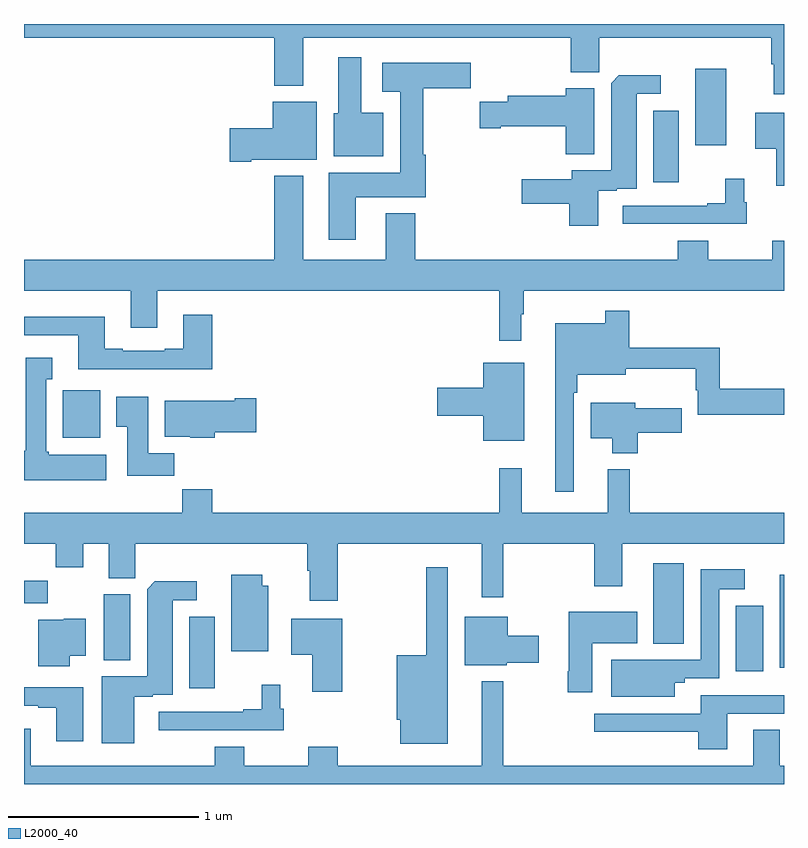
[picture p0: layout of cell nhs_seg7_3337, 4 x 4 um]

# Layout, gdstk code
import gdstk
lib = gdstk.Library(unit=1e-6, precision=1e-09)
def R(c, l, rs):  # rectangles x0, y0, x1, y1
    for r in rs: c.add(gdstk.rectangle(r[:2], r[2:], *l))
def P(c, l, *ps):  # polygons
    for p in ps: c.add(gdstk.Polygon(p, *l))
L2000_40 = (2000, 40)

nhs_seg7_3337 = lib.new_cell('nhs_seg7_3337')
R(nhs_seg7_3337, L2000_40, [(323.87,1018.503,324.004,1018.879), (326.747,1018.593,326.89,1018.939), (326.978,1018.611,327,1019.101), (323.42,1018.651,323.56,1018.998), (326.312,1018.739,326.473,1019.161), (323,1018.952,323.126,1019.071), (323.205,1019.822,323.401,1020.072), (326.312,1021.167,326.446,1021.543), (326.534,1021.362,326.695,1021.765)])
P(nhs_seg7_3337, L2000_40, [(323,1021.928),(324.317,1021.928),(324.317,1021.676),(324.469,1021.676),(324.469,1021.928),(325.877,1021.928),(325.877,1021.747),(326.027,1021.747),(326.027,1021.928),(326.933,1021.928),(326.933,1021.787),(326.945,1021.787),(326.945,1021.629),(327,1021.629),(327,1022),(323,1022)],
  [(324.892,1021.534),(324.775,1021.534),(324.775,1021.825),(324.653,1021.825),(324.653,1021.53),(324.629,1021.53),(324.629,1021.304),(324.892,1021.304)],
  [(324.745,1021.088),(325.115,1021.088),(325.115,1021.312),(325.102,1021.312),(325.102,1021.662),(325.351,1021.662),(325.351,1021.795),(324.885,1021.795),(324.885,1021.643),(324.98,1021.643),(324.98,1021.216),(324.605,1021.216),(324.605,1020.864),(324.745,1020.864)],
  [(326.023,1021.122),(326.12,1021.122),(326.12,1021.134),(326.224,1021.134),(326.224,1021.632),(326.35,1021.632),(326.35,1021.73),(326.131,1021.73),(326.09,1021.688),(326.09,1021.23),(325.883,1021.23),(325.883,1021.183),(325.62,1021.183),(325.62,1021.054),(325.871,1021.054),(325.871,1020.939),(326.023,1020.939)],
  [(326.002,1021.662),(325.85,1021.662),(325.85,1021.623),(325.547,1021.623),(325.547,1021.591),(325.398,1021.591),(325.398,1021.451),(325.51,1021.451),(325.51,1021.463),(325.85,1021.463),(325.85,1021.315),(326.002,1021.315)],
  [(324.196,1021.286),(324.541,1021.286),(324.541,1021.591),(324.308,1021.591),(324.308,1021.452),(324.084,1021.452),(324.084,1021.274),(324.196,1021.274)],
  [(327,1021.534),(326.849,1021.534),(326.849,1021.343),(326.96,1021.343),(326.96,1021.149),(327,1021.149)],
  [(327,1020.859),(326.938,1020.859),(326.938,1020.76),(326.601,1020.76),(326.601,1020.859),(326.441,1020.859),(326.441,1020.76),(325.058,1020.76),(325.058,1021.003),(324.905,1021.003),(324.905,1020.76),(324.469,1020.76),(324.469,1021.201),(324.317,1021.201),(324.317,1020.76),(323,1020.76),(323,1020.596),(323.561,1020.596),(323.561,1020.402),(323.701,1020.402),(323.701,1020.596),(325.501,1020.596),(325.501,1020.333),(325.618,1020.333),(325.618,1020.473),(325.63,1020.473),(325.63,1020.596),(327,1020.596)],
  [(326.803,1021.061),(326.791,1021.061),(326.791,1021.186),(326.692,1021.186),(326.692,1021.057),(326.597,1021.057),(326.597,1021.044),(326.151,1021.044),(326.151,1020.948),(326.803,1020.948)],
  [(325.893,1020.059),(325.913,1020.059),(325.913,1020.155),(326.167,1020.155),(326.167,1020.185),(326.535,1020.185),(326.535,1020.073),(326.547,1020.073),(326.547,1019.944),(327,1019.944),(327,1020.08),(326.663,1020.08),(326.663,1020.295),(326.186,1020.295),(326.186,1020.49),(326.058,1020.49),(326.058,1020.424),(325.796,1020.424),(325.796,1019.538),(325.893,1019.538)],
  [(323.99,1020.469),(323.837,1020.469),(323.837,1020.292),(323.741,1020.292),(323.741,1020.279),(323.521,1020.279),(323.521,1020.292),(323.425,1020.292),(323.425,1020.46),(323,1020.46),(323,1020.363),(323.285,1020.363),(323.285,1020.182),(323.99,1020.182)],
  [(323.434,1019.734),(323.13,1019.734),(323.13,1019.748),(323.116,1019.748),(323.116,1020.131),(323.149,1020.131),(323.149,1020.244),(323.009,1020.244),(323.009,1019.754),(323,1019.754),(323,1019.6),(323.434,1019.6)],
  [(325.633,1020.217),(325.418,1020.217),(325.418,1020.086),(325.176,1020.086),(325.176,1019.939),(325.418,1019.939),(325.418,1019.807),(325.633,1019.807)],
  [(323.792,1019.74),(323.653,1019.74),(323.653,1020.037),(323.486,1020.037),(323.486,1019.881),(323.543,1019.881),(323.543,1019.622),(323.792,1019.622)],
  [(324.005,1019.851),(324.223,1019.851),(324.223,1020.029),(324.11,1020.029),(324.11,1020.016),(323.741,1020.016),(323.741,1019.828),(323.874,1019.828),(323.874,1019.822),(324.005,1019.822)],
  [(326.231,1019.848),(326.461,1019.848),(326.461,1019.977),(326.218,1019.977),(326.218,1020.007),(325.982,1020.007),(325.982,1019.819),(326.096,1019.819),(326.096,1019.741),(326.231,1019.741)],
  [(324.651,1019.264),(325.409,1019.264),(325.409,1018.983),(325.523,1018.983),(325.523,1019.264),(326.002,1019.264),(326.002,1019.04),(326.149,1019.04),(326.149,1019.264),(327,1019.264),(327,1019.428),(326.189,1019.428),(326.189,1019.656),(326.072,1019.656),(326.072,1019.428),(325.619,1019.428),(325.619,1019.662),(325.501,1019.662),(325.501,1019.428),(323.99,1019.428),(323.99,1019.552),(323.833,1019.552),(323.833,1019.428),(323,1019.428),(323,1019.264),(323.167,1019.264),(323.167,1019.14),(323.311,1019.14),(323.311,1019.264),(323.447,1019.264),(323.447,1019.083),(323.585,1019.083),(323.585,1019.264),(324.491,1019.264),(324.491,1019.123),(324.503,1019.123),(324.503,1018.965),(324.651,1018.965)],
  [(325.231,1019.14),(325.117,1019.14),(325.117,1018.678),(324.962,1018.678),(324.962,1018.338),(324.98,1018.338),(324.98,1018.211),(325.231,1018.211)],
  [(326.425,1018.532),(326.478,1018.532),(326.478,1018.557),(326.658,1018.557),(326.658,1019.024),(326.794,1019.024),(326.794,1019.131),(326.562,1019.131),(326.562,1018.653),(326.316,1018.653),(326.316,1018.654),(326.09,1018.654),(326.09,1018.46),(326.425,1018.46)],
  [(324.286,1019.044),(324.253,1019.044),(324.253,1019.101),(324.092,1019.101),(324.092,1018.7),(324.286,1018.7)],
  [(323.581,1018.458),(323.678,1018.458),(323.678,1018.47),(323.782,1018.47),(323.782,1018.968),(323.908,1018.968),(323.908,1019.066),(323.689,1019.066),(323.648,1019.024),(323.648,1018.566),(323.408,1018.566),(323.408,1018.215),(323.581,1018.215)],
  [(325.99,1018.742),(326.227,1018.742),(326.227,1018.906),(325.868,1018.906),(325.868,1018.594),(325.861,1018.594),(325.861,1018.482),(325.99,1018.482)],
  [(325.542,1018.637),(325.708,1018.637),(325.708,1018.779),(325.546,1018.779),(325.546,1018.879),(325.319,1018.879),(325.319,1018.625),(325.542,1018.625)],
  [(324.676,1018.87),(324.407,1018.87),(324.407,1018.679),(324.518,1018.679),(324.518,1018.485),(324.676,1018.485)],
  [(323.242,1018.676),(323.326,1018.676),(323.326,1018.87),(323.208,1018.87),(323.208,1018.864),(323.075,1018.864),(323.075,1018.619),(323.242,1018.619)],
  [(327,1018.096),(326.977,1018.096),(326.977,1018.286),(326.837,1018.286),(326.837,1018.096),(325.523,1018.096),(325.523,1018.54),(325.409,1018.54),(325.409,1018.096),(324.651,1018.096),(324.651,1018.195),(324.496,1018.195),(324.496,1018.096),(324.159,1018.096),(324.159,1018.195),(324.004,1018.195),(324.004,1018.096),(323.035,1018.096),(323.035,1018.291),(323,1018.291),(323,1018),(327,1018)],
  [(324.368,1018.397),(324.349,1018.397),(324.349,1018.522),(324.25,1018.522),(324.25,1018.393),(324.155,1018.393),(324.155,1018.38),(323.709,1018.38),(323.709,1018.284),(324.368,1018.284)],
  [(323.311,1018.509),(323,1018.509),(323,1018.413),(323.075,1018.413),(323.075,1018.401),(323.171,1018.401),(323.171,1018.224),(323.311,1018.224)],
  [(326.701,1018.371),(327,1018.371),(327,1018.467),(326.561,1018.467),(326.561,1018.371),(326.001,1018.371),(326.001,1018.274),(326.549,1018.274),(326.549,1018.182),(326.701,1018.182)])

lib.write_gds('nhs_seg7_3337.gds')
